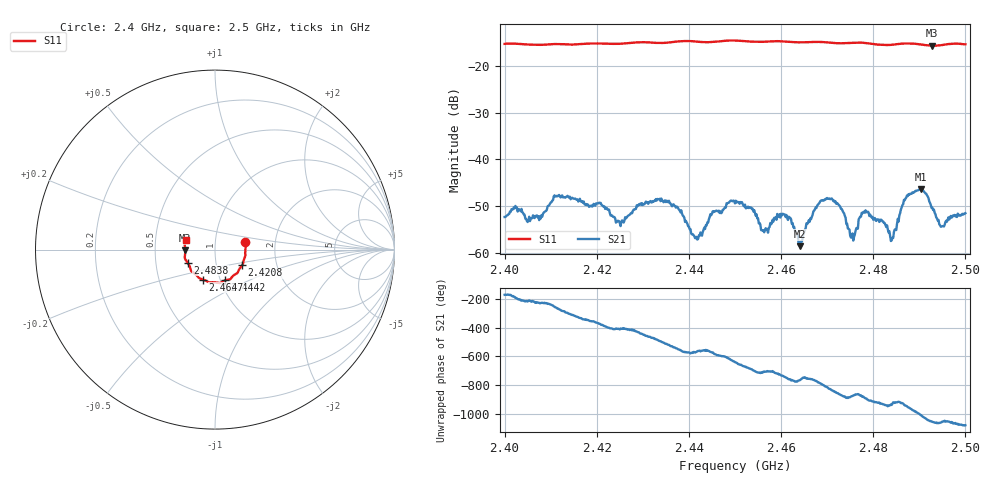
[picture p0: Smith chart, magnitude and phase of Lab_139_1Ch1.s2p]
# Hz S RI R 50
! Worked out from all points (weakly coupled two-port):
!   601 points, 2.4 GHz to 2.5 GHz, reference 50 ohm
!   highest |S21| = -46.46 dB at 2.4903 GHz (marker M1); lowest = -58.6 dB at 2.4642 GHz (marker M2)
!   lowest |S11| = -15.6 dB at 2.4928 GHz (marker M3), VSWR 1.40, Z = 35.8 - j0.358 ohm
!   |S11| at or under -10 dB: start of sweep to end of sweep
!   S12 and S22 are empty: the file has one direction only
!   S11 on the Smith chart (normalised r, x): 2.4 GHz: 1.40, +0.12; 2.4208 GHz: 1.33, -0.24; 2.4442 GHz: 1.05, -0.37; 2.4647 GHz: 0.83, -0.29; 2.4838 GHz: 0.73, -0.11; 2.5 GHz: 0.72, +0.08
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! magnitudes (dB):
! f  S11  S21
! 2.4 GHz  -15.2  -52.4
! 2.4167 GHz  -15.3  -49.1
! 2.4208 GHz  -15.2  -49.3
! 2.4253 GHz  -15.2  -53.4
! 2.4333 GHz  -15.0  -48.5
! 2.4415 GHz  -14.7  -56.9
! 2.4442 GHz  -14.9  -53.6
! 2.45 GHz  -14.5  -49.5
! 2.4562 GHz  -14.8  -55.2
! 2.4608 GHz  -14.7  -51.8
! 2.4642 GHz  -14.9  -58.6
! 2.4647 GHz  -14.9  -57.0
! 2.4667 GHz  -14.8  -52.4
! 2.4705 GHz  -15.0  -48.4
! 2.4755 GHz  -15.0  -55.9
! 2.4783 GHz  -15.0  -51.0
! 2.4833 GHz  -15.5  -55.7
! 2.4838 GHz  -15.4  -57.5
! 2.4903 GHz  -15.3  -46.5
! 2.4928 GHz  -15.6  -50.4
! 2.4948 GHz  -15.5  -54.4
! 2.5 GHz  -15.3  -51.6
